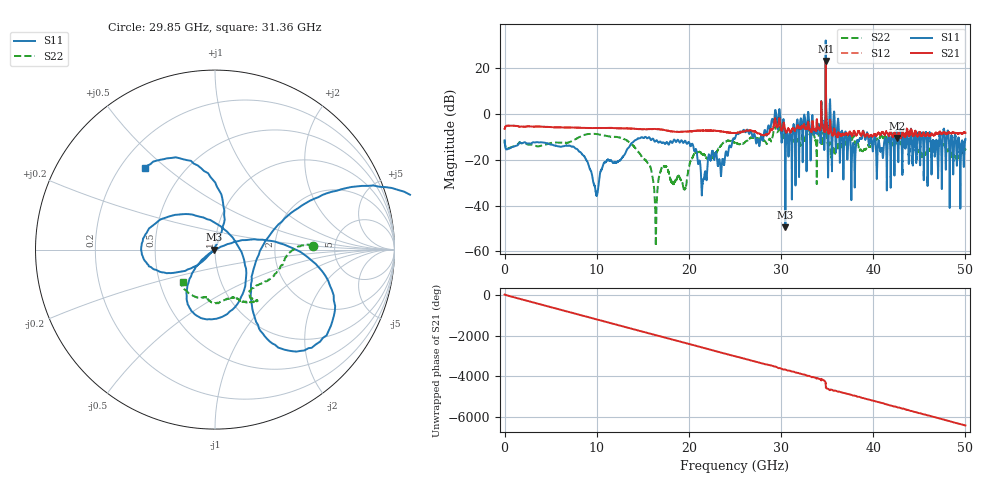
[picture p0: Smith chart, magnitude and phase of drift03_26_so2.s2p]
!Created with skrf (http://scikit-rf.org).
# Hz S RI R 50.0
!freq ReS11 ImS11 ReS21 ImS21 ReS12 ImS12 ReS22 ImS22
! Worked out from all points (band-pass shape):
!   10001 points, 300 kHz to 50 GHz, reference 50 ohm
!   highest |S21| = 23.28 dB at 34.85 GHz (marker M1); lowest = -10.4 dB at 42.56 GHz (marker M2)
!   |S21| within 3 dB of the highest: 34.84313 GHz to 34.84645 GHz (3.312 MHz wide, 0.0095 % of centre)
!   lowest |S11| = -49.5 dB at 30.47 GHz (marker M3), VSWR 1.01, Z = 49.7 - j0.112 ohm
!   |S11| at or under -10 dB: start of sweep to 15.23 GHz; 15.32 GHz to 25.05 GHz (9.731 GHz wide, 48.2 % of centre); 40.22 GHz to 41.62 GHz (1.402 GHz wide, 3.43 % of centre) (the widest 3 of 53)
!   |S22| runs from -57.7 to 14.3 dB; largest |S21 - S12| = 2.2
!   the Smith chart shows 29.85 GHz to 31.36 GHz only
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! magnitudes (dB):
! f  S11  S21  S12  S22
! 300 kHz  -11.5  -6.4  -6.4  -11.3
! 8.335 GHz  -17.1  -6.0  -6.0  -9.6
! 9.955 GHz  -35.6  -6.1  -6.1  -8.7
! 11 GHz  -20.9  -6.0  -6.0  -9.5
! 13.9 GHz  -12.4  -6.3  -6.3  -13.6
! 16.36 GHz  -11.9  -6.5  -6.5  -43.7
! 16.67 GHz  -12.4  -6.5  -6.5  -29.5
! 17.33 GHz  -12.7  -6.9  -6.9  -22.9
! 19.55 GHz  -11.7  -7.7  -7.7  -32.8
! 20.21 GHz  -13.9  -7.4  -7.5  -20.2
! 21.55 GHz  -28.7  -7.2  -7.2  -17.7
! 25 GHz  -10.6  -8.2  -8.2  -12.5
! 29.6 GHz  -5.6  -5.7  -5.9  -7.9
! 30.47 GHz  -49.5  -7.2  -7.2  -9.1
! 33.34 GHz  -3.8  -6.9  -6.8  -9.3
! 34.85 GHz  32.2  23.3  23.1  14.3
! 35.63 GHz  -6.6  -9.2  -9.1  -16.0
! 37.82 GHz  -12.7  -8.4  -8.3  -9.9
! 38.81 GHz  -9.2  -8.3  -8.3  -16.1
! 41.67 GHz  -9.4  -9.4  -9.4  -11.6
! 42.56 GHz  -8.2  -10.4  -10.5  -13.2
! 50 GHz  -10.8  -8.1  -8.2  -15.4
